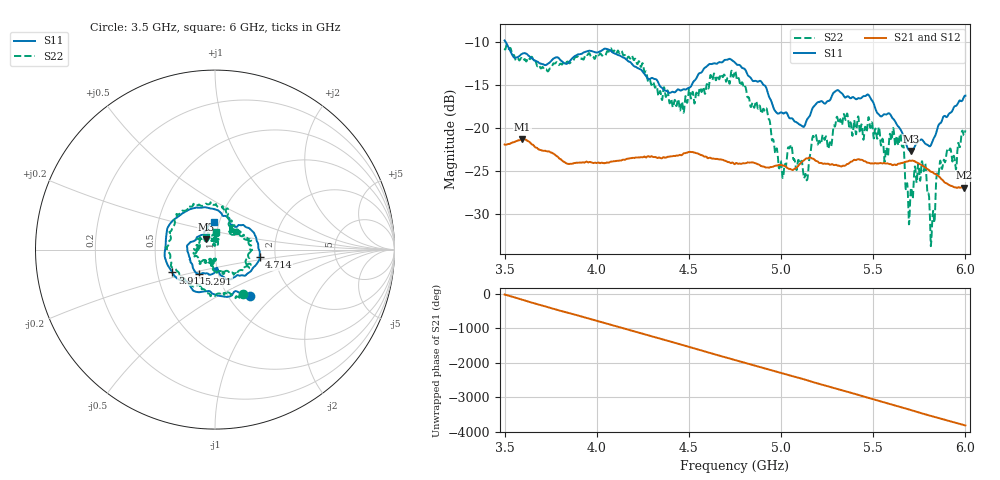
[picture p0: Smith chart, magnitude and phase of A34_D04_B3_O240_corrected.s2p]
! Created with skrf 1.9.0 (http://scikit-rf.org).
# Hz S RI R 50.0
!freq ReS11 ImS11 ReS21 ImS21 ReS12 ImS12 ReS22 ImS22
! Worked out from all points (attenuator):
!   1601 points, 3.5 GHz to 6 GHz, reference 50 ohm
!   highest |S21| = -21.27 dB at 3.595 GHz (marker M1); lowest = -26.9 dB at 5.994 GHz (marker M2)
!   lowest |S11| = -22.6 dB at 5.705 GHz (marker M3), VSWR 1.16, Z = 45.2 + j5.13 ohm
!   |S11| at or under -10 dB: 3.507 GHz to end of sweep
!   |S22| runs from -33.7 to -10.3 dB; largest |S21 - S12| = 0.00096
!   S11 on the Smith chart (normalised r, x): 3.5 GHz: 1.26, -0.72; 3.911 GHz: 0.60, -0.16; 4.714 GHz: 1.65, -0.15; 5.291 GHz: 0.81, -0.22; 6 GHz: 0.94, +0.30
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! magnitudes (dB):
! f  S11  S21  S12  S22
! 3.5 GHz  -9.8  -21.9  -21.8  -10.7
! 3.595 GHz  -11.3  -21.3  -21.2  -12.0
! 3.911 GHz  -11.4  -24.0  -23.9  -11.9
! 3.917 GHz  -11.3  -24.0  -24.0  -11.9
! 4.127 GHz  -11.6  -23.7  -23.7  -11.2
! 4.334 GHz  -14.7  -23.4  -23.3  -16.2
! 4.714 GHz  -12.0  -23.9  -23.9  -14.2
! 4.75 GHz  -12.3  -24.2  -24.1  -13.3
! 4.925 GHz  -15.7  -24.6  -24.5  -18.1
! 5.002 GHz  -18.2  -24.3  -24.3  -24.3
! 5.048 GHz  -18.8  -24.7  -24.7  -22.2
! 5.134 GHz  -19.3  -23.5  -23.5  -25.4
! 5.167 GHz  -17.8  -23.5  -23.4  -21.5
! 5.291 GHz  -15.8  -24.3  -24.2  -19.8
! 5.584 GHz  -18.2  -24.1  -24.1  -22.0
! 5.655 GHz  -20.4  -24.0  -24.0  -22.0
! 5.705 GHz  -22.6  -23.8  -23.7  -27.0
! 5.773 GHz  -21.6  -24.5  -24.4  -25.0
! 5.822 GHz  -21.5  -25.1  -25.0  -30.0
! 5.855 GHz  -19.6  -25.6  -25.5  -25.4
! 5.994 GHz  -16.3  -26.9  -26.8  -20.8
! 6 GHz  -16.2  -26.9  -26.8  -20.2
